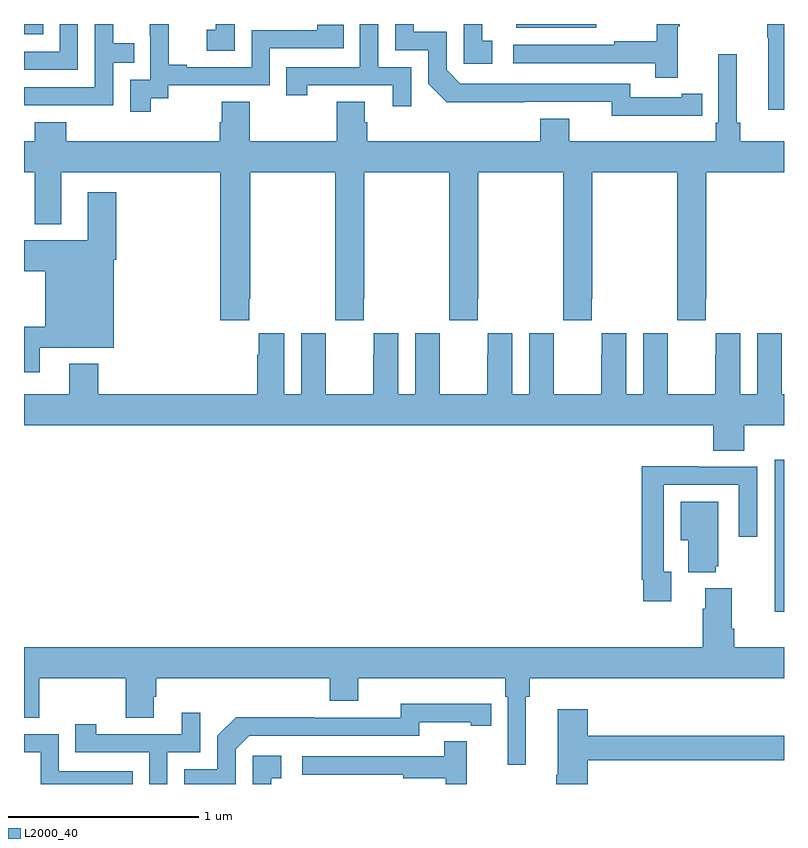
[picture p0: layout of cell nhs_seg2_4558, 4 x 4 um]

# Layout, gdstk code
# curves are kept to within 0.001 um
import gdstk
lib = gdstk.Library(unit=1e-6, precision=1e-09)
def R(c, l, rs):  # rectangles x0, y0, x1, y1
    for r in rs: c.add(gdstk.rectangle(r[:2], r[2:], *l))
def P(c, l, *ps):  # polygons
    for p in ps: c.add(gdstk.Polygon(p, *l))
L2000_40 = (2000, 40)

nhs_seg2_4558 = lib.new_cell('nhs_seg2_4558')
R(nhs_seg2_4558, L2000_40, [(359,597.746,359.102,597.8), (361.592,597.779,362.011,597.8)])
P(nhs_seg2_4558, L2000_40, [(361.038,597.573),(360.864,597.573),(360.864,597.8),(360.768,597.8),(360.768,597.573),(360.379,597.573),(360.379,597.426),(360.49,597.426),(360.49,597.477),(360.941,597.477),(360.941,597.366),(361.038,597.366)],
  [(360.108,597.8),(360.01,597.8),(360.01,597.769),(359.961,597.769),(359.961,597.66),(360.108,597.66)],
  [(359.668,597.409),(359.76,597.409),(359.76,597.477),(360.294,597.477),(360.294,597.672),(360.683,597.672),(360.683,597.795),(360.543,597.795),(360.543,597.768),(360.198,597.768),(360.198,597.573),(359.857,597.573),(359.857,597.586),(359.762,597.586),(359.762,597.8),(359.663,597.8),(359.663,597.737),(359.664,597.737),(359.664,597.507),(359.559,597.507),(359.559,597.339),(359.668,597.339)],
  [(359.283,597.8),(359.187,597.8),(359.187,597.654),(359,597.654),(359,597.558),(359.283,597.558)],
  [(363,597.8),(362.911,597.8),(362.911,597.727),(362.918,597.727),(362.918,597.348),(363,597.348)],
  [(359.469,597.597),(359.579,597.597),(359.579,597.698),(359.469,597.698),(359.469,597.8),(359.373,597.8),(359.373,597.468),(359,597.468),(359,597.372),(359.469,597.372)],
  [(361.465,597.711),(361.412,597.711),(361.412,597.8),(361.314,597.8),(361.314,597.591),(361.465,597.591)],
  [(362.462,597.318),(362.57,597.318),(362.57,597.434),(362.462,597.434),(362.462,597.414),(362.19,597.414),(362.19,597.486),(361.296,597.486),(361.224,597.558),(361.224,597.759),(361.051,597.759),(361.051,597.8),(360.954,597.8),(360.954,597.663),(361.128,597.663),(361.128,597.486),(361.226,597.389),(362.094,597.39),(362.094,597.317)],
  [(362.441,597.787),(362.452,597.787),(362.452,597.8),(362.331,597.8),(362.331,597.71),(362.107,597.71),(362.107,597.69),(361.575,597.69),(361.575,597.594),(362.323,597.594),(362.323,597.516),(362.441,597.516)],
  [(360.185,596.353),(360.192,596.353),(360.192,597.02),(360.637,597.02),(360.637,596.353),(360.639,596.353),(360.639,596.241),(360.789,596.241),(360.789,596.353),(360.792,596.353),(360.792,597.02),(361.237,597.02),(361.237,596.353),(361.239,596.353),(361.239,596.241),(361.389,596.241),(361.389,596.353),(361.392,596.353),(361.392,597.02),(361.837,597.02),(361.837,596.353),(361.839,596.353),(361.839,596.241),(361.989,596.241),(361.989,596.353),(361.992,596.353),(361.992,597.02),(362.437,597.02),(362.437,596.353),(362.439,596.353),(362.439,596.241),(362.589,596.241),(362.589,596.353),(362.592,596.353),(362.592,597.02),(363,597.02),(363,597.184),(362.771,597.184),(362.771,597.28),(362.752,597.28),(362.752,597.64),(362.655,597.64),(362.655,597.28),(362.642,597.28),(362.642,597.184),(361.87,597.184),(361.87,597.301),(361.718,597.301),(361.718,597.184),(360.806,597.184),(360.806,597.282),(360.793,597.282),(360.793,597.392),(360.646,597.392),(360.646,597.184),(360.189,597.184),(360.189,597.392),(360.041,597.392),(360.041,597.282),(360.029,597.282),(360.029,597.184),(359.222,597.184),(359.222,597.283),(359.057,597.283),(359.057,597.184),(359,597.184),(359,597.02),(359.057,597.02),(359.057,596.747),(359.197,596.747),(359.197,597.02),(360.032,597.02),(360.032,596.241),(360.185,596.241)],
  [(359.083,596.096),(359.473,596.096),(359.473,596.558),(359.486,596.558),(359.486,596.914),(359.336,596.914),(359.336,596.662),(359,596.662),(359,596.498),(359.111,596.498),(359.111,596.206),(359,596.206),(359,595.968),(359.083,595.968)],
  [(362.627,595.555),(362.792,595.555),(362.792,595.688),(363,595.688),(363,595.852),(362.989,595.852),(362.989,596.06),(362.988,596.06),(362.988,596.173),(362.858,596.173),(362.858,595.852),(362.77,595.852),(362.77,596.173),(362.64,596.173),(362.64,596.06),(362.639,596.06),(362.639,595.852),(362.389,595.852),(362.389,596.06),(362.388,596.06),(362.388,596.173),(362.258,596.173),(362.258,595.852),(362.17,595.852),(362.17,596.173),(362.04,596.173),(362.04,596.06),(362.039,596.06),(362.039,595.852),(361.789,595.852),(361.789,596.06),(361.788,596.06),(361.788,596.173),(361.658,596.173),(361.658,595.852),(361.57,595.852),(361.57,596.173),(361.44,596.173),(361.44,596.06),(361.439,596.06),(361.439,595.852),(361.189,595.852),(361.189,596.06),(361.188,596.06),(361.188,596.173),(361.058,596.173),(361.058,595.852),(360.97,595.852),(360.97,596.173),(360.84,596.173),(360.84,596.06),(360.839,596.06),(360.839,595.852),(360.589,595.852),(360.589,596.06),(360.588,596.06),(360.588,596.173),(360.458,596.173),(360.458,595.852),(360.37,595.852),(360.37,596.173),(360.236,596.173),(360.236,596.06),(360.227,596.06),(360.227,595.852),(359.39,595.852),(359.39,596.011),(359.237,596.011),(359.237,595.852),(359,595.852),(359,595.688),(362.627,595.688)],
  [(363,595.507),(362.952,595.507),(362.952,595.013),(362.95,595.013),(362.95,594.707),(363,594.707)],
  [(362.407,594.918),(362.367,594.918),(362.367,595.374),(362.763,595.374),(362.763,595.101),(362.859,595.101),(362.859,595.47),(362.543,595.47),(362.543,595.472),(362.251,595.472),(362.251,594.874),(362.259,594.874),(362.259,594.762),(362.407,594.762)],
  [(362.642,594.945),(362.653,594.945),(362.653,595.285),(362.456,595.285),(362.456,595.082),(362.495,595.082),(362.495,594.914),(362.642,594.914)],
  [(359,594.148),(359.079,594.148),(359.079,594.356),(359.536,594.356),(359.536,594.148),(359.683,594.148),(359.683,594.258),(359.696,594.258),(359.696,594.356),(360.608,594.356),(360.608,594.239),(360.76,594.239),(360.76,594.356),(361.532,594.356),(361.532,594.26),(361.545,594.26),(361.545,593.901),(361.642,593.901),(361.642,594.26),(361.661,594.26),(361.661,594.356),(363,594.356),(363,594.52),(362.738,594.52),(362.738,594.616),(362.725,594.616),(362.725,594.829),(362.585,594.829),(362.585,594.722),(362.573,594.722),(362.573,594.52),(359,594.52)],
  [(360.114,593.982),(360.186,594.054),(361.08,594.054),(361.08,594.126),(361.352,594.126),(361.352,594.106),(361.46,594.106),(361.46,594.222),(360.984,594.223),(360.984,594.15),(360.524,594.15),(360.524,594.152),(360.116,594.152),(360.018,594.054),(360.018,593.877),(359.844,593.877),(359.844,593.8),(360.114,593.8)],
  [(361.967,593.926),(363,593.926),(363,594.055),(361.967,594.055),(361.967,594.193),(361.808,594.193),(361.808,593.849),(361.801,593.849),(361.801,593.8),(361.967,593.8)],
  [(359.754,593.967),(359.928,593.967),(359.928,594.175),(359.831,594.175),(359.831,594.063),(359.38,594.063),(359.38,594.115),(359.269,594.115),(359.269,593.967),(359.658,593.967),(359.658,593.8),(359.754,593.8)],
  [(359.573,593.868),(359.184,593.868),(359.184,594.063),(359,594.063),(359,593.967),(359.088,593.967),(359.088,593.8),(359.573,593.8)],
  [(361.331,594.025),(361.213,594.025),(361.213,593.946),(360.465,593.946),(360.465,593.85),(360.997,593.85),(360.997,593.83),(361.221,593.83),(361.221,593.8),(361.331,593.8)],
  [(360.302,593.829),(360.355,593.829),(360.355,593.95),(360.204,593.95),(360.204,593.8),(360.302,593.8)])

lib.write_gds('nhs_seg2_4558.gds')
